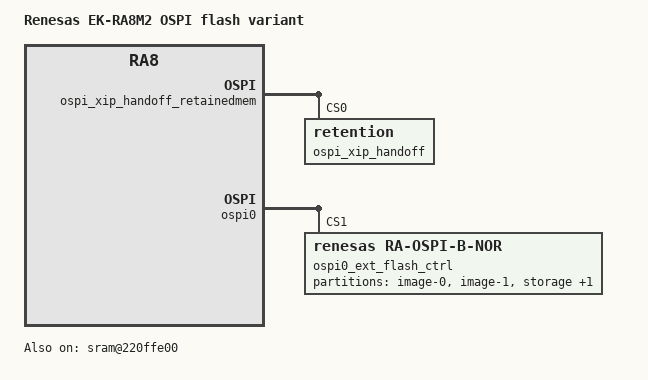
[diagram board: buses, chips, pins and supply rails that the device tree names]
/*
 * Copyright (c) 2026 Renesas Electronics Corporation
 * SPDX-License-Identifier: Apache-2.0
 */

/dts-v1/;

#include "ek_ra8m2_r7ka8m2jflcac_cm85_common.dtsi"

/delete-node/ &slot0_partition;
/delete-node/ &slot1_partition;
/delete-node/ &storage_partition;


/ {
	model = "Renesas EK-RA8M2 OSPI flash variant";
	compatible = "renesas,ra8m2", "renesas,ra8";

	chosen {
		zephyr,console = &uart8;
		zephyr,shell-uart = &uart8;
		zephyr,flash = &ospi0_ext_flash;
		zephyr,flash-controller = &ospi0_ext_flash_ctrl;
		zephyr,code-partition = &slot0_partition;
		zephyr,uart-mcumgr = &uart8;
		zephyr,ospi-xip-handoff = &ospi_xip_handoff;
	};

	/*
	 * MCUboot already runs flash_ospi_b_nor_probe()'s OM_RESET + SFDP
	 * discovery once and jumps straight into this image executing XIP out
	 * of the same OSPI flash. mx25lw51245g reports
	 * JESD216_SFDP_BFP_DW18_BYTE_ORDER_SWAPPED, so redoing that reprobe
	 * from the app would briefly switch the controller to Extended SPI
	 * (1S-1S-1S), during which every read of this already-8D-8D-8D
	 * -programmed image returns corrupted bytes - unsafe regardless of
	 * code relocation, since this SoC's vector table and fault handlers
	 * are not RAM-relocated either. This carved-out tail of sram0 lets
	 * MCUboot hand the already-derived OSPI configuration to the app
	 * instead, so the app never re-enters Extended SPI mode. See
	 * flash_ospi_b_nor_probe()/flash_ospi_b_xip_handoff_export() in
	 * flash_renesas_ra_ospi_b.c.
	 */
	sram@220ffe00 {
		compatible = "zephyr,memory-region", "mmio-sram";
		reg = <0x220ffe00 0x200>;
		zephyr,memory-region = "OSPI_XIP_HANDOFF";
		status = "okay";

		ospi_xip_handoff_retainedmem: retainedmem {
			compatible = "zephyr,retained-ram";
			status = "okay";
			#address-cells = <1>;
			#size-cells = <1>;

			ospi_xip_handoff: retention@0 {
				compatible = "zephyr,retention";
				status = "okay";
				reg = <0x0 0x200>;
			};
		};
	};
};

/* Shrink sram0 to exclude the OSPI XIP handoff carve-out above. */
&sram0 {
	reg = <0x22000000 (DT_SIZE_M(1) - 0x200)>;
};

&ospi0 {
	pinctrl-0 = <&ospi0_default>;
	pinctrl-names = "default";
	ddr-sampling-extension = <7>;
	status = "okay";

	ospi0_ext_flash_ctrl: flash-controller@1 {
		compatible = "renesas,ra-ospi-b-nor";
		ranges = <0x0 0x90000000 DT_SIZE_M(256)>;
		reg = <1>;
		protocol-mode = <OSPI_OPI_MODE>;
		ospi-max-frequency = <DT_FREQ_M(133)>;
		jedec-id = [ c2 86 3a  ];
		default-8d-dummy-cycles = <20>;
		#address-cells = <1>;
		#size-cells = <1>;
		status = "okay";

		ospi0_ext_flash: mx25lw51245g: nor-flash@0 {
			compatible = "soc-nv-flash";
			reg = <0x0 DT_SIZE_M(64)>;
			ranges = <0x0 0x0 DT_SIZE_M(64)>;
			write-block-size = <16>;
			erase-block-size = <DT_SIZE_K(4)>;
			#address-cells = <1>;
			#size-cells = <1>;
			status = "okay";

			partitions {
				ranges;
				#address-cells = <1>;
				#size-cells = <1>;

				slot0_partition: partition@0 {
					compatible = "zephyr,mapped-partition";
					label = "image-0";
					reg = <0x0 DT_SIZE_M(16)>;
				};

				slot1_partition: partition@1000000 {
					compatible = "zephyr,mapped-partition";
					label = "image-1";
					reg = <DT_SIZE_M(16) DT_SIZE_M(16)>;
				};

				storage_partition: partition@2000000 {
					compatible = "zephyr,mapped-partition";
					label = "storage";
					reg = <DT_SIZE_M(32) DT_SIZE_K(64)>;
				};

				auto_calib_partition: partition@3fff000 {
					compatible = "zephyr,mapped-partition";
					label = "auto-calib-pattern";
					reg = <0x3fff000 DT_SIZE_K(4)>;
				};
			};
		};
	};
};
